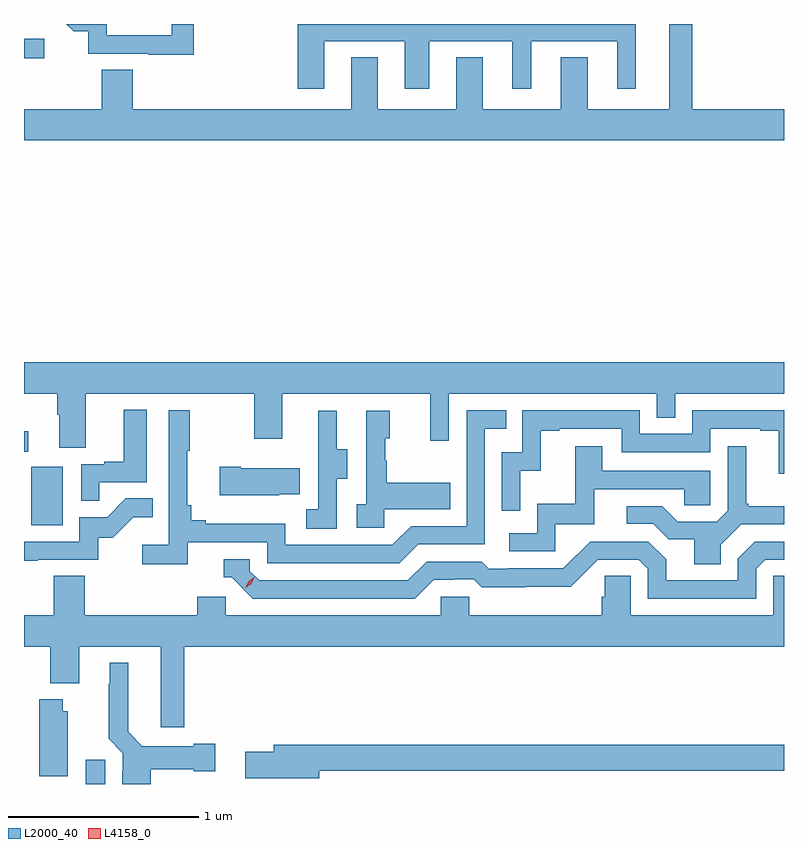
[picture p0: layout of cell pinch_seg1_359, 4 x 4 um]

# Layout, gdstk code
import gdstk
lib = gdstk.Library(unit=1e-6, precision=1e-09)
def R(c, l, rs):  # rectangles x0, y0, x1, y1
    for r in rs: c.add(gdstk.rectangle(r[:2], r[2:], *l))
def P(c, l, *ps):  # polygons
    for p in ps: c.add(gdstk.Polygon(p, *l))
L2000_40 = (2000, 40)
L4158_0 = (4158, 0)

pinch_seg1_359 = lib.new_cell('pinch_seg1_359')
R(pinch_seg1_359, L2000_40, [(950.597,540.353,950.701,540.481), (950.312,541.716,950.476,542.023), (950.273,542.103,950.296,542.209), (950.273,544.174,950.38,544.276)])
P(pinch_seg1_359, L2000_40, [(954.273,543.904),(953.791,543.904),(953.791,544.353),(953.669,544.353),(953.669,543.904),(953.239,543.904),(953.239,544.177),(953.099,544.177),(953.099,543.904),(952.687,543.904),(952.687,544.177),(952.547,544.177),(952.547,543.904),(952.135,543.904),(952.135,544.177),(951.995,544.177),(951.995,543.904),(950.846,543.904),(950.846,544.112),(950.681,544.112),(950.681,543.904),(950.273,543.904),(950.273,543.74),(954.273,543.74)],
  [(951.167,544.353),(951.051,544.353),(951.051,544.293),(950.709,544.293),(950.709,544.353),(950.495,544.353),(950.534,544.314),(950.611,544.314),(950.611,544.197),(950.929,544.197),(950.929,544.192),(951.167,544.192)],
  [(951.853,544.262),(952.277,544.262),(952.277,544.011),(952.405,544.011),(952.405,544.262),(952.844,544.262),(952.844,544.011),(952.942,544.011),(952.942,544.262),(953.396,544.262),(953.396,544.011),(953.494,544.011),(953.494,544.353),(951.713,544.353),(951.713,544.011),(951.853,544.011)],
  [(950.599,542.408),(951.484,542.408),(951.484,542.169),(951.631,542.169),(951.631,542.408),(952.412,542.408),(952.412,542.16),(952.509,542.16),(952.509,542.408),(953.604,542.408),(953.604,542.281),(953.7,542.281),(953.7,542.408),(954.273,542.408),(954.273,542.572),(950.273,542.572),(950.273,542.408),(950.447,542.408),(950.447,542.296),(950.459,542.296),(950.459,542.122),(950.599,542.122)],
  [(950.669,541.941),(950.92,541.941),(950.92,542.323),(950.798,542.323),(950.798,542.05),(950.695,542.05),(950.695,542.037),(950.574,542.037),(950.574,541.843),(950.669,541.843)],
  [(951.134,541.626),(951.552,541.626),(951.552,541.515),(952.249,541.515),(952.348,541.614),(952.698,541.614),(952.698,542.223),(952.811,542.223),(952.811,542.319),(952.602,542.319),(952.602,541.71),(952.311,541.71),(952.212,541.611),(951.648,541.611),(951.648,541.723),(951.229,541.723),(951.229,541.742),(951.152,541.742),(951.152,541.819),(951.133,541.819),(951.133,542.107),(951.145,542.107),(951.145,542.32),(951.036,542.32),(951.036,541.612),(950.895,541.612),(950.895,541.51),(951.134,541.51)],
  [(952.884,542.003),(952.994,542.003),(952.994,542.211),(953.089,542.211),(953.089,542.223),(953.418,542.223),(953.418,542.1),(953.886,542.1),(953.886,542.223),(954.149,542.223),(954.149,542.211),(954.245,542.211),(954.245,541.985),(954.273,541.985),(954.273,542.319),(953.79,542.319),(953.79,542.196),(953.514,542.196),(953.514,542.319),(952.896,542.319),(952.896,542.1),(952.788,542.1),(952.788,541.791),(952.884,541.791)],
  [(952.17,541.799),(952.517,541.799),(952.517,541.939),(952.183,541.939),(952.183,542.054),(952.173,542.054),(952.173,542.172),(952.198,542.172),(952.198,542.317),(952.074,542.317),(952.074,541.826),(952.023,541.826),(952.023,541.701),(952.17,541.701)],
  [(951.918,541.96),(951.973,541.96),(951.973,542.115),(951.919,542.115),(951.919,542.317),(951.821,542.317),(951.821,542.103),(951.822,542.103),(951.822,541.799),(951.759,541.799),(951.759,541.696),(951.918,541.696)],
  [(953.07,541.719),(953.275,541.719),(953.275,541.905),(953.749,541.905),(953.749,541.821),(953.886,541.821),(953.886,542.001),(953.317,542.001),(953.317,542.131),(953.173,542.131),(953.173,541.828),(952.974,541.828),(952.974,541.674),(952.827,541.674),(952.827,541.578),(953.07,541.578)],
  [(953.941,541.612),(954.048,541.719),(954.273,541.719),(954.273,541.816),(954.085,541.816),(954.085,541.828),(954.073,541.828),(954.073,542.131),(953.976,542.131),(953.976,541.791),(953.919,541.734),(953.713,541.734),(953.632,541.815),(953.445,541.815),(953.445,541.722),(953.586,541.722),(953.666,541.642),(953.801,541.642),(953.801,541.51),(953.941,541.51)],
  [(951.617,541.877),(951.725,541.877),(951.725,542.014),(951.415,542.014),(951.415,542.022),(951.303,542.022),(951.303,541.874),(951.617,541.874)],
  [(950.345,541.533),(950.664,541.533),(950.664,541.65),(950.74,541.65),(950.847,541.757),(950.951,541.757),(950.951,541.856),(950.808,541.856),(950.71,541.758),(950.565,541.758),(950.565,541.629),(950.273,541.629),(950.273,541.528),(950.345,541.528)],
  [(952.429,541.428),(952.536,541.428),(952.536,541.431),(952.639,541.431),(952.681,541.389),(952.914,541.389),(952.914,541.391),(953.15,541.391),(953.292,541.533),(953.508,541.533),(953.556,541.485),(953.556,541.329),(954.126,541.329),(954.126,541.485),(954.174,541.533),(954.273,541.533),(954.273,541.629),(954.12,541.629),(954.03,541.539),(954.03,541.425),(953.653,541.425),(953.653,541.535),(953.559,541.629),(953.253,541.629),(953.112,541.488),(952.819,541.488),(952.819,541.485),(952.72,541.485),(952.681,541.524),(952.392,541.524),(952.293,541.425),(951.51,541.425),(951.462,541.473),(951.462,541.536),(951.323,541.536),(951.323,541.44),(951.366,541.44),(951.477,541.329),(952.33,541.329)],
  [(951.116,541.076),(954.273,541.076),(954.273,541.448),(954.216,541.448),(954.216,541.24),(953.466,541.24),(953.466,541.448),(953.329,541.448),(953.329,541.338),(953.315,541.338),(953.315,541.24),(952.617,541.24),(952.617,541.338),(952.467,541.338),(952.467,541.24),(951.336,541.24),(951.336,541.338),(951.185,541.338),(951.185,541.24),(950.594,541.24),(950.594,541.448),(950.429,541.448),(950.429,541.24),(950.273,541.24),(950.273,541.076),(950.411,541.076),(950.411,540.884),(950.563,540.884),(950.563,541.076),(950.993,541.076),(950.993,540.651),(951.116,540.651)],
  [(950.939,540.431),(951.167,540.431),(951.167,540.419),(951.28,540.419),(951.28,540.566),(951.167,540.566),(951.167,540.553),(950.895,540.553),(950.821,540.628),(950.821,540.991),(950.723,540.991),(950.723,540.881),(950.719,540.881),(950.719,540.59),(950.793,540.516),(950.793,540.422),(950.789,540.422),(950.789,540.353),(950.939,540.353)],
  [(950.503,540.735),(950.476,540.735),(950.476,540.799),(950.354,540.799),(950.354,540.394),(950.503,540.394)],
  [(951.826,540.424),(954.273,540.424),(954.273,540.56),(951.587,540.56),(951.587,540.524),(951.438,540.524),(951.438,540.382),(951.826,540.382)])
P(pinch_seg1_359, L4158_0, [(951.439,541.386),(951.439,541.386),(951.455,541.42),(951.485,541.44),(951.485,541.44),(951.485,541.44),(951.47,541.407),(951.44,541.386)])

lib.write_gds('pinch_seg1_359.gds')
